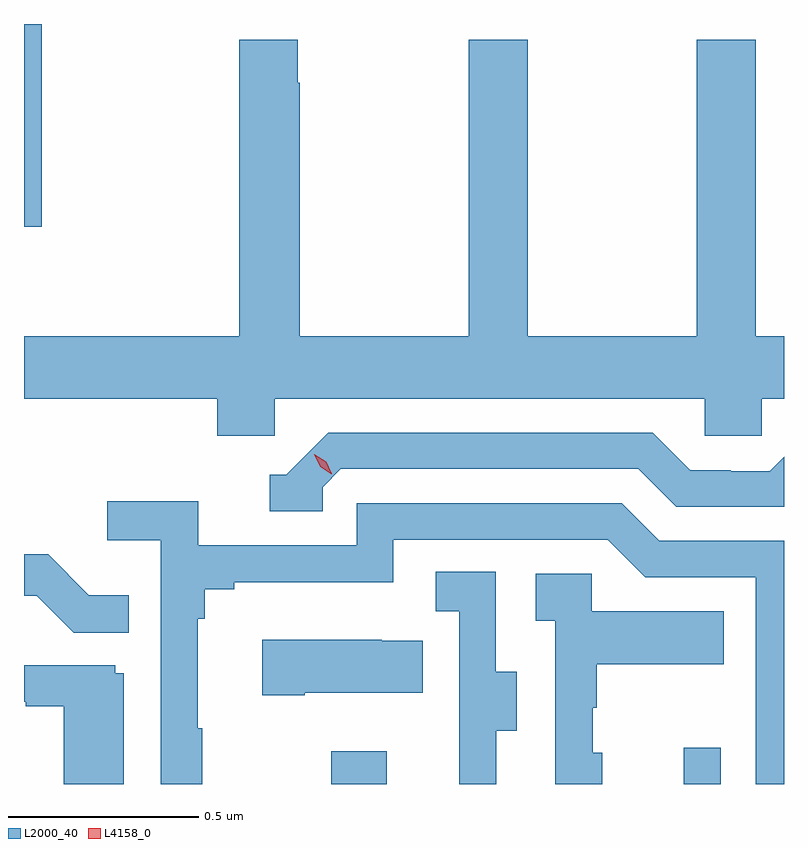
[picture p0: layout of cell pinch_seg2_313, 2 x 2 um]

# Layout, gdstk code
import gdstk
lib = gdstk.Library(unit=1e-6, precision=1e-09)
def R(c, l, rs):  # rectangles x0, y0, x1, y1
    for r in rs: c.add(gdstk.rectangle(r[:2], r[2:], *l))
def P(c, l, *ps):  # polygons
    for p in ps: c.add(gdstk.Polygon(p, *l))
L2000_40 = (2000, 40)
L4158_0 = (4158, 0)

pinch_seg2_313 = lib.new_cell('pinch_seg2_313')
R(pinch_seg2_313, L2000_40, [(902.422,643.958,902.569,644.044), (903.35,643.958,903.447,644.053), (901.614,645.424,901.661,645.958)])
P(pinch_seg2_313, L2000_40, [(902.274,644.972),(903.405,644.972),(903.405,644.874),(903.555,644.874),(903.555,644.972),(903.614,644.972),(903.614,645.136),(903.54,645.136),(903.54,645.916),(903.385,645.916),(903.385,645.136),(902.94,645.136),(902.94,645.916),(902.785,645.916),(902.785,645.136),(902.34,645.136),(902.34,645.803),(902.335,645.803),(902.335,645.916),(902.18,645.916),(902.18,645.136),(901.614,645.136),(901.614,644.972),(902.123,644.972),(902.123,644.874),(902.274,644.874)],
  [(902.4,644.739),(902.448,644.787),(903.231,644.787),(903.33,644.688),(903.614,644.688),(903.614,644.819),(903.577,644.781),(903.474,644.781),(903.474,644.784),(903.367,644.784),(903.268,644.883),(902.415,644.883),(902.304,644.772),(902.261,644.772),(902.261,644.676),(902.4,644.676)],
  [(902.083,644.105),(902.071,644.105),(902.071,644.393),(902.09,644.393),(902.09,644.47),(902.167,644.47),(902.167,644.489),(902.586,644.489),(902.586,644.601),(903.15,644.601),(903.249,644.502),(903.54,644.502),(903.54,643.958),(903.614,643.958),(903.614,644.598),(903.286,644.598),(903.187,644.697),(902.49,644.697),(902.49,644.586),(902.072,644.586),(902.072,644.702),(901.833,644.702),(901.833,644.6),(901.974,644.6),(901.974,643.958),(902.083,643.958)],
  [(901.889,644.455),(901.785,644.455),(901.678,644.562),(901.614,644.562),(901.614,644.454),(901.647,644.454),(901.745,644.356),(901.889,644.356)],
  [(902.857,644.098),(902.911,644.098),(902.911,644.253),(902.856,644.253),(902.856,644.516),(902.697,644.516),(902.697,644.413),(902.76,644.413),(902.76,644.109),(902.759,644.109),(902.759,643.958),(902.857,643.958)],
  [(903.136,644.04),(903.111,644.04),(903.111,644.159),(903.121,644.159),(903.121,644.273),(903.455,644.273),(903.455,644.413),(903.108,644.413),(903.108,644.511),(902.961,644.511),(902.961,644.387),(903.012,644.387),(903.012,643.958),(903.136,643.958)],
  [(902.353,644.198),(902.663,644.198),(902.663,644.335),(902.555,644.335),(902.555,644.338),(902.241,644.338),(902.241,644.191),(902.353,644.191)],
  [(901.876,644.25),(901.854,644.25),(901.854,644.271),(901.614,644.271),(901.614,644.175),(901.619,644.175),(901.619,644.163),(901.718,644.163),(901.718,643.958),(901.876,643.958)])
P(pinch_seg2_313, L4158_0, [(902.424,644.773),(902.394,644.793),(902.378,644.826),(902.378,644.826),(902.378,644.826),(902.409,644.806),(902.424,644.774),(902.424,644.773)])

lib.write_gds('pinch_seg2_313.gds')
